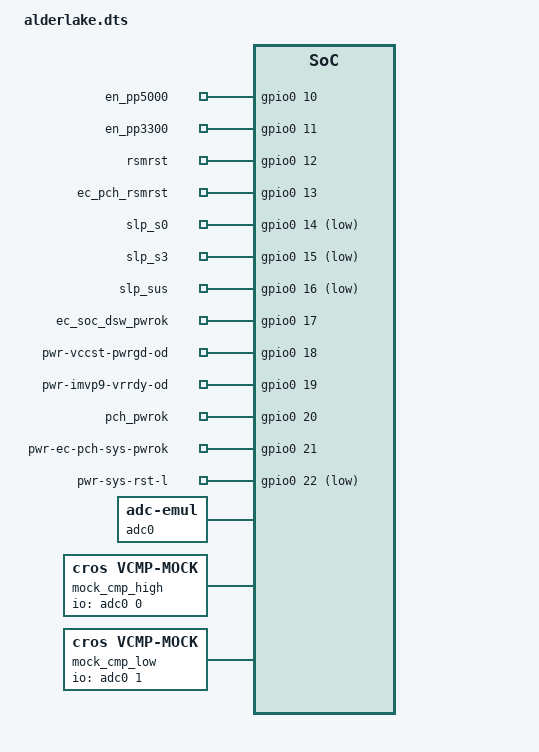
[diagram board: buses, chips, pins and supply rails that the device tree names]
/* Copyright 2022 The ChromiumOS Authors
 * Use of this source code is governed by a BSD-style license that can be
 * found in the LICENSE file.
 */

#include <dt-bindings/gpio_defines.h>
#include "alderlake_emul.dtsi"

/ {
	common-pwrseq {
		compatible = "intel,ap-pwrseq";
		s5-inactivity-timeout = <1>;
		all-sys-pwrgd-timeout = <50>;
	};

	en_pp5000: pwr-en-pp5000-s5 {
		compatible = "intel,ap-pwrseq-gpio";
		dbg-label = "PP5000_S5 enable output to regulator";
		enum-name = "PWR_EN_PP5000_A";
		gpios = <&gpio0 10 0>;
		output;
	};
	en_pp3300: pwr-en-pp3300-s5 {
		compatible = "intel,ap-pwrseq-gpio";
		dbg-label = "PP3300_S5 enable output to LS";
		enum-name = "PWR_EN_PP3300_A";
		gpios = <&gpio0 11 0>;
		output;
	};
	rsmrst: pwr-pg-ec-rsmrst-odl {
		compatible = "intel,ap-pwrseq-gpio";
		dbg-label = "RSMRST power good from regulator";
		enum-name = "PWR_RSMRST";
		gpios = <&gpio0 12 0>;
		interrupt-flags = <GPIO_INT_EDGE_BOTH>;
	};
	ec_pch_rsmrst: pwr-ec-pch-rsmrst-odl {
		compatible = "intel,ap-pwrseq-gpio";
		dbg-label = "RSMRST output to PCH";
		enum-name = "PWR_EC_PCH_RSMRST";
		gpios = <&gpio0 13 0>;
		output;
	};
	slp_s0: pwr-slp-s0-l {
		compatible = "intel,ap-pwrseq-gpio";
		dbg-label = "SLP_S0_L input from PCH";
		enum-name = "PWR_SLP_S0";
		gpios = <&gpio0 14 GPIO_ACTIVE_LOW>;
		interrupt-flags = <GPIO_INT_EDGE_BOTH>;
		no-enable;
	};
	slp_s3: pwr-slp-s3-l {
		compatible = "intel,ap-pwrseq-gpio";
		dbg-label = "SLP_S3_L input from PCH";
		enum-name = "PWR_SLP_S3";
		gpios = <&gpio0 15 GPIO_ACTIVE_LOW>;
		interrupt-flags = <GPIO_INT_EDGE_BOTH>;
	};
	slp_sus: pwr-slp-sus-l {
		compatible = "intel,ap-pwrseq-gpio";
		dbg-label = "SLP_SUS_L input from PCH";
		enum-name = "PWR_SLP_SUS";
		gpios = <&gpio0 16 GPIO_ACTIVE_LOW>;
		interrupt-flags = <GPIO_INT_EDGE_BOTH>;
	};
	ec_soc_dsw_pwrok: pwr-ec-soc-dsw-pwrok {
		compatible = "intel,ap-pwrseq-gpio";
		dbg-label = "DSW_PWROK output to PCH";
		enum-name = "PWR_EC_SOC_DSW_PWROK";
		gpios = <&gpio0 17 0>;
		output;
	};
	pwr-vccst-pwrgd-od {
		compatible = "intel,ap-pwrseq-gpio";
		dbg-label = "VCCST_PWRGD output to PCH";
		enum-name = "PWR_VCCST_PWRGD";
		gpios = <&gpio0 18 0>;
		output;
	};
	pwr-imvp9-vrrdy-od {
		compatible = "intel,ap-pwrseq-gpio";
		dbg-label = "VRRDY input from IMVP9";
		enum-name = "PWR_IMVP9_VRRDY";
		gpios = <&gpio0 19 0>;
	};
	pch_pwrok: pwr-pch-pwrok {
		compatible = "intel,ap-pwrseq-gpio";
		dbg-label = "PCH_PWROK output to PCH";
		enum-name = "PWR_PCH_PWROK";
		gpios = <&gpio0 20 0>;
		output;
	};
	pwr-ec-pch-sys-pwrok {
		compatible = "intel,ap-pwrseq-gpio";
		dbg-label = "SYS_PWROK output to PCH";
		enum-name = "PWR_EC_PCH_SYS_PWROK";
		gpios = <&gpio0 21 0>;
		output;
	};
	pwr-sys-rst-l {
		compatible = "intel,ap-pwrseq-gpio";
		dbg-label = "SYS_RESET# output to PCH";
		enum-name = "PWR_SYS_RST";
		gpios = <&gpio0 22 GPIO_ACTIVE_LOW>;
		output;
	};
	slp_s4: pwr-slp-s4 {
		compatible = "intel,ap-pwrseq-vw";
		dbg-label = "SLP_S4 virtual wire input from PCH";
		enum-name = "PWR_SLP_S4";
		virtual-wire = "ESPI_VWIRE_SIGNAL_SLP_S4";
		vw-invert;
	};
	slp_s5: pwr-slp-s5 {
		compatible = "intel,ap-pwrseq-vw";
		dbg-label = "SLP_S5 virtual wire input from PCH";
		enum-name = "PWR_SLP_S5";
		virtual-wire = "ESPI_VWIRE_SIGNAL_SLP_S5";
		vw-invert;
	};
	all_sys_pwrgd: pwr-all-sys-pwrgd {
		compatible = "intel,ap-pwrseq-external";
		dbg-label = "Combined all power good";
		enum-name = "PWR_ALL_SYS_PWRGD";
	};
	dsw_pwrok: pwr-pp3300-pwrok {
		compatible = "intel,ap-pwrseq-external";
		dbg-label = "PP3300 PWROK";
		enum-name = "PWR_DSW_PWROK";
	};

	adc0: adc {
		compatible = "zephyr,adc-emul";
		nchannels = <6>;
		ref-internal-mv = <3300>;
		#io-channel-cells = <1>;
		status = "okay";
	};
	mock_cmp_high: mock-cmp-high {
		compatible = "cros,vcmp-mock";
		threshold-mv = <50>;
		io-channels = <&adc0 0>;
	};
	mock_cmp_low: mock-cmp-low {
		compatible = "cros,vcmp-mock";
		threshold-mv = <100>;
		io-channels = <&adc0 1>;
	};
	pwr-pp1p05-pwrok {
		compatible = "intel,ap-pwrseq-adc";
		dbg-label = "PP1P05 PWROK (from ADC)";
		enum-name = "PWR_PG_PP1P05";
		trigger-high = <&mock_cmp_high>;
		trigger-low = <&mock_cmp_low>;
	};
};
